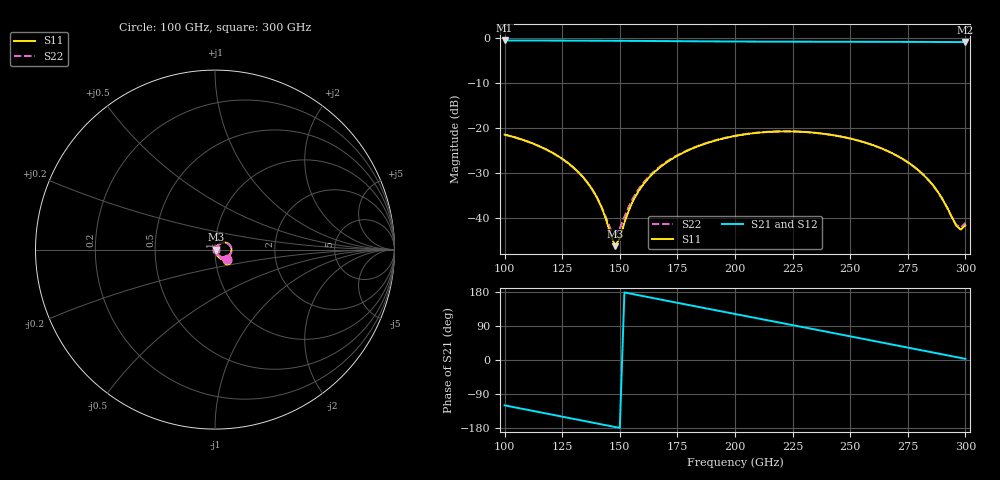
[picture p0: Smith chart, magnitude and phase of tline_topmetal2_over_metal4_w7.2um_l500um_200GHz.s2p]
#  GHZ S DB R 50
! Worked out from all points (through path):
!   101 points, 100 GHz to 300 GHz, reference 50 ohm
!   highest |S21| = -0.45 dB at 100 GHz (marker M1); lowest = -0.8 dB at 300 GHz (marker M2)
!   group delay of S21, straight-line fit = 3.29 ps
!   lowest |S11| = -46.3 dB at 148 GHz (marker M3), VSWR 1.01, Z = 50.5 - j0.106 ohm
!   |S11| at or under -10 dB: start of sweep to end of sweep
!   |S22| runs from -43.9 to -20.7 dB; largest |S21 - S12| = 1.6e-14
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100  -21.43 -40.8  -0.45 -119.7  -0.45 -119.7  -21.47 -40.2
120  -25.26 -61.1  -0.48 -143.5  -0.48 -143.5  -25.32 -59.7
134  -30.88 -72.0  -0.50 -160.2  -0.50 -160.2  -30.96 -69.0
142  -37.54 -69.3  -0.51 -169.8  -0.51 -169.8  -37.46 -62.3
146  -43.69 -47.5  -0.52 -174.6  -0.52 -174.6  -42.55 -36.1
148  -46.30 -12.6  -0.53 -176.9  -0.53 -176.9  -43.87 -6.2
150  -44.51 26.6  -0.53 -179.3  -0.53 -179.3  -42.38 22.9
154  -38.20 53.1  -0.55 175.9  -0.55 175.9  -37.38 47.7
158  -34.16 57.6  -0.56 171.1  -0.56 171.1  -33.72 53.5
168  -28.50 53.6  -0.59 159.2  -0.59 159.2  -28.32 51.2
182  -24.42 41.2  -0.64 142.6  -0.64 142.6  -24.33 39.6
200  -21.74 22.5  -0.69 121.4  -0.69 121.4  -21.69 21.3
218  -20.76 2.6  -0.72 100.3  -0.72 100.3  -20.73 1.7
234  -21.01 -15.1  -0.73 81.4  -0.73 81.4  -20.99 -15.9
250  -22.32 -32.4  -0.75 62.5  -0.75 62.5  -22.32 -33.0
268  -25.53 -50.3  -0.76 41.1  -0.76 41.1  -25.55 -50.6
276  -27.94 -56.7  -0.77 31.6  -0.77 31.6  -27.99 -56.9
284  -31.54 -60.2  -0.78 22.1  -0.78 22.1  -31.62 -60.0
290  -35.74 -56.3  -0.79 14.9  -0.79 14.9  -35.84 -55.3
296  -41.71 -25.8  -0.81 7.8  -0.81 7.8  -41.57 -22.8
298  -42.62 -1.6  -0.81 5.4  -0.81 5.4  -42.21 1.0
300  -41.64 22.3  -0.81 3.0  -0.81 3.0  -41.11 23.3
